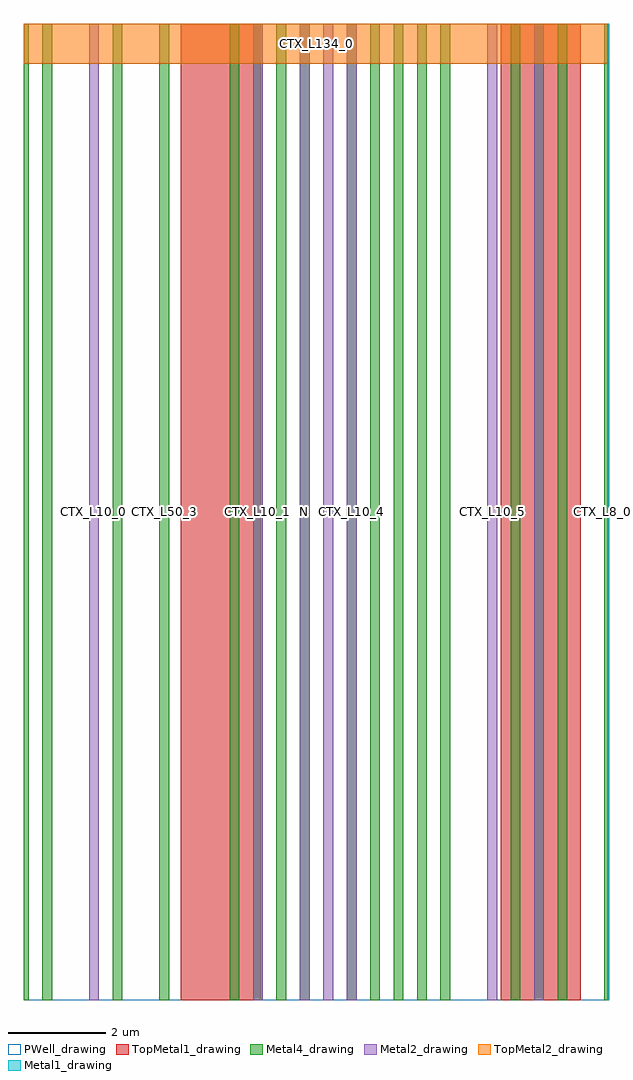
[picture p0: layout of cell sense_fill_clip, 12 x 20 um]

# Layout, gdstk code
import gdstk
lib = gdstk.Library(unit=1e-6, precision=1e-09)
def R(c, l, rs):  # rectangles x0, y0, x1, y1
    for r in rs: c.add(gdstk.rectangle(r[:2], r[2:], *l))
def A(c, l, x, y, w, h, nx, ny, dx, dy):  # array of equal rectangles
    R(c, l, [(x+i*dx, y+j*dy, x+i*dx+w, y+j*dy+h) for i in range(nx) for j in range(ny)])
Metal1_drawing = (8, 0)
Metal2_drawing = (10, 0)
PWell_drawing = (46, 0)
Metal4_drawing = (50, 0)
TopMetal1_drawing = (126, 0)
TopMetal2_drawing = (134, 0)

sense_fill_clip = lib.new_cell('sense_fill_clip')
R(sense_fill_clip, Metal1_drawing, [(737.72,701.27,737.76,721.27)])
A(sense_fill_clip, Metal2_drawing, 731.42, 701.27, 0.2, 20, 3, 1, 0.48, 0)
R(sense_fill_clip, Metal2_drawing, [(727.1,701.27,727.3,721.27), (730.46,701.27,730.66,721.27), (735.26,701.27,735.46,721.27), (736.22,701.27,736.42,721.27)])
R(sense_fill_clip, PWell_drawing, [(725.76,701.27,737.76,721.27), (725.76,701.27,737.76,721.27)])
A(sense_fill_clip, Metal4_drawing, 729.98, 701.27, 0.2, 20, 4, 1, 0.48, 0)
A(sense_fill_clip, Metal4_drawing, 732.38, 701.27, 0.2, 20, 5, 1, 0.48, 0)
A(sense_fill_clip, Metal4_drawing, 735.74, 701.27, 0.2, 20, 3, 1, 0.48, 0)
R(sense_fill_clip, Metal4_drawing, [(725.76,701.27,725.86,721.27), (726.14,701.27,726.34,721.27), (727.58,701.27,727.78,721.27), (728.54,701.27,728.74,721.27), (737.66,701.27,737.76,721.27)])
R(sense_fill_clip, TopMetal1_drawing, [(728.98,701.27,730.62,721.27), (735.54,701.27,737.18,721.27)])
R(sense_fill_clip, TopMetal2_drawing, [(725.76,720.46,737.76,721.27)])
sense_fill_clip.add(gdstk.Label('CTX_L8_0', (737.74,711.27), layer=8, texttype=25))
sense_fill_clip.add(gdstk.Label('CTX_L10_5', (735.36,711.27), layer=10, texttype=25))
sense_fill_clip.add(gdstk.Label('CTX_L10_4', (732.48,711.27), layer=10, texttype=25))
sense_fill_clip.add(gdstk.Label('P', (732,711.27), layer=10, texttype=25))
sense_fill_clip.add(gdstk.Label('N', (731.52,711.27), layer=10, texttype=25))
sense_fill_clip.add(gdstk.Label('CTX_L10_1', (730.56,711.27), layer=10, texttype=25))
sense_fill_clip.add(gdstk.Label('CTX_L10_6', (736.32,711.27), layer=10, texttype=25))
sense_fill_clip.add(gdstk.Label('CTX_L10_0', (727.2,711.27), layer=10, texttype=25))
sense_fill_clip.add(gdstk.Label('CTX_L50_16', (737.71,711.27), layer=50, texttype=25))
sense_fill_clip.add(gdstk.Label('CTX_L50_15', (736.8,711.27), layer=50, texttype=25))
sense_fill_clip.add(gdstk.Label('CTX_L50_14', (736.32,711.27), layer=50, texttype=25))
sense_fill_clip.add(gdstk.Label('CTX_L50_13', (735.84,711.27), layer=50, texttype=25))
sense_fill_clip.add(gdstk.Label('CTX_L50_10', (733.44,711.27), layer=50, texttype=25))
sense_fill_clip.add(gdstk.Label('CTX_L50_0', (725.81,711.27), layer=50, texttype=25))
sense_fill_clip.add(gdstk.Label('CTX_L50_1', (726.24,711.27), layer=50, texttype=25))
sense_fill_clip.add(gdstk.Label('CTX_L50_2', (727.68,711.27), layer=50, texttype=25))
sense_fill_clip.add(gdstk.Label('CTX_L50_3', (728.64,711.27), layer=50, texttype=25))
sense_fill_clip.add(gdstk.Label('CTX_L50_6', (731.04,711.27), layer=50, texttype=25))
sense_fill_clip.add(gdstk.Label('CTX_L50_4', (730.08,711.27), layer=50, texttype=25))
sense_fill_clip.add(gdstk.Label('CTX_L50_8', (732.48,711.27), layer=50, texttype=25))
sense_fill_clip.add(gdstk.Label('CTX_L50_5', (730.56,711.27), layer=50, texttype=25))
sense_fill_clip.add(gdstk.Label('CTX_L50_7', (731.52,711.27), layer=50, texttype=25))
sense_fill_clip.add(gdstk.Label('CTX_L50_9', (732.96,711.27), layer=50, texttype=25))
sense_fill_clip.add(gdstk.Label('CTX_L50_11', (733.92,711.27), layer=50, texttype=25))
sense_fill_clip.add(gdstk.Label('CTX_L50_12', (734.4,711.27), layer=50, texttype=25))
sense_fill_clip.add(gdstk.Label('CTX_L126_1', (736.36,711.27), layer=126, texttype=25))
sense_fill_clip.add(gdstk.Label('CTX_L126_0', (729.8,711.27), layer=126, texttype=25))
sense_fill_clip.add(gdstk.Label('CTX_L134_0', (731.76,720.865), layer=134, texttype=25))

lib.write_gds('sense_fill_clip.gds')
